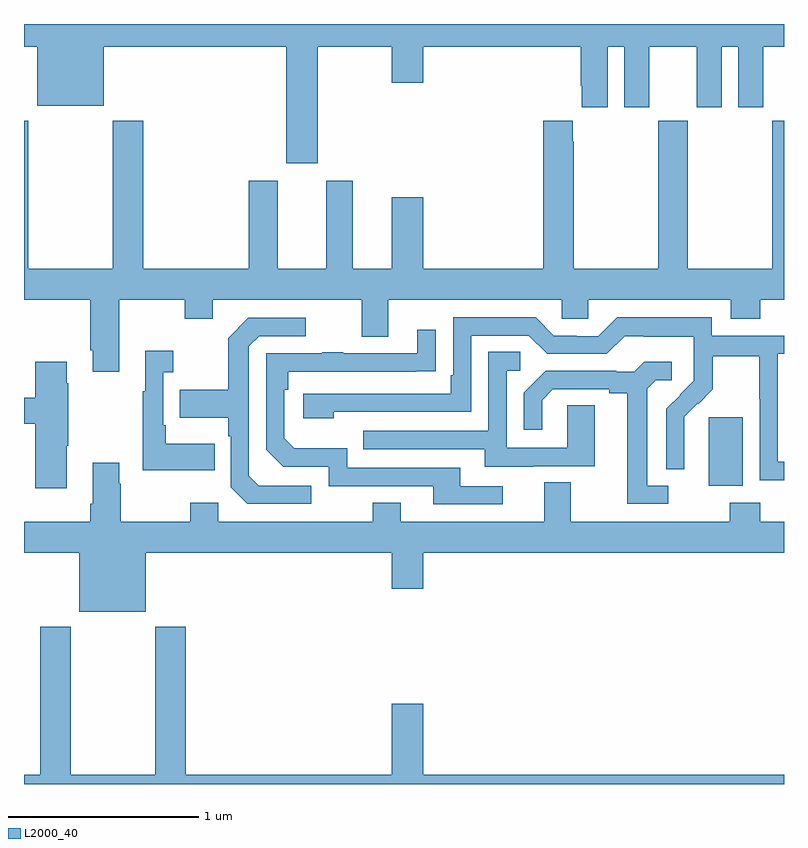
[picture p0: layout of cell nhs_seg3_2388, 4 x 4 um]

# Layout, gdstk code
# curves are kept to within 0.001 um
import gdstk
lib = gdstk.Library(unit=1e-6, precision=1e-09)
def R(c, l, rs):  # rectangles x0, y0, x1, y1
    for r in rs: c.add(gdstk.rectangle(r[:2], r[2:], *l))
def P(c, l, *ps):  # polygons
    for p in ps: c.add(gdstk.Polygon(p, *l))
L2000_40 = (2000, 40)

nhs_seg3_2388 = lib.new_cell('nhs_seg3_2388')
R(nhs_seg3_2388, L2000_40, [(238.604,667.97,238.783,668.331)])
P(nhs_seg3_2388, L2000_40, [(236.545,670.28),(236.936,670.28),(236.936,670.092),(237.1,670.092),(237.1,670.28),(237.929,670.28),(237.929,670.075),(237.935,670.075),(237.935,669.963),(238.072,669.963),(238.072,670.28),(238.16,670.28),(238.16,669.963),(238.291,669.963),(238.291,670.28),(238.541,670.28),(238.541,669.963),(238.672,669.963),(238.672,670.28),(238.76,670.28),(238.76,669.963),(238.891,669.963),(238.891,670.28),(239,670.28),(239,670.4),(235,670.4),(235,670.28),(235.07,670.28),(235.07,669.971),(235.42,669.971),(235.42,670.28),(236.381,670.28),(236.381,669.666),(236.545,669.666)],
  [(235.501,668.948),(235.846,668.948),(235.846,668.849),(235.993,668.849),(235.993,668.948),(236.777,668.948),(236.777,668.754),(236.917,668.754),(236.917,668.948),(237.831,668.948),(237.831,668.85),(237.969,668.85),(237.969,668.948),(238.721,668.948),(238.721,668.849),(238.874,668.849),(238.874,668.948),(239,668.948),(239,669.892),(238.939,669.892),(238.939,669.112),(238.494,669.112),(238.494,669.892),(238.339,669.892),(238.339,669.112),(237.894,669.112),(237.894,669.779),(237.889,669.779),(237.889,669.892),(237.734,669.892),(237.734,669.112),(237.1,669.112),(237.1,669.487),(236.936,669.487),(236.936,669.112),(236.731,669.112),(236.731,669.574),(236.591,669.574),(236.591,669.112),(236.335,669.112),(236.335,669.574),(236.183,669.574),(236.183,669.112),(235.628,669.112),(235.628,669.892),(235.468,669.892),(235.468,669.112),(235.023,669.112),(235.023,669.892),(235,669.892),(235,668.948),(235.349,668.948),(235.349,668.683),(235.361,668.683),(235.361,668.571),(235.501,668.571)],
  [(239,668.097),(238.968,668.097),(238.968,668.664),(239,668.664),(239,668.76),(238.62,668.76),(238.62,668.857),(238.123,668.857),(238.023,668.757),(237.908,668.757),(237.908,668.76),(237.789,668.76),(237.693,668.856),(237.258,668.856),(237.258,668.551),(237.245,668.551),(237.245,668.454),(236.469,668.454),(236.469,668.324),(236.63,668.324),(236.63,668.358),(237.354,668.358),(237.354,668.76),(237.657,668.76),(237.753,668.664),(238.068,668.664),(238.161,668.757),(238.261,668.757),(238.261,668.753),(238.524,668.753),(238.524,668.619),(238.526,668.619),(238.526,668.522),(238.38,668.374),(238.38,668.056),(238.476,668.056),(238.475,668.333),(238.545,668.403),(238.548,668.4),(238.625,668.477),(238.625,668.652),(238.87,668.652),(238.87,668.428),(238.872,668.428),(238.872,667.999),(239,667.999)],
  [(236.512,667.971),(236.235,667.971),(236.184,668.022),(236.184,668.703),(236.238,668.757),(236.482,668.757),(236.482,668.853),(236.181,668.853),(236.076,668.747),(236.076,668.475),(235.819,668.475),(235.819,668.327),(236.076,668.327),(236.076,668.231),(236.088,668.231),(236.088,667.962),(236.175,667.875),(236.512,667.875)],
  [(237.52,667.968),(237.295,667.968),(237.295,668.064),(236.7,668.064),(236.7,668.167),(236.423,668.167),(236.37,668.22),(236.37,668.474),(236.39,668.474),(236.39,668.571),(237.167,668.572),(237.167,668.791),(237.071,668.791),(237.071,668.667),(236.681,668.667),(236.681,668.672),(236.569,668.672),(236.569,668.667),(236.274,668.667),(236.274,668.16),(236.364,668.07),(236.604,668.07),(236.604,667.968),(237.155,667.968),(237.155,667.872),(237.52,667.872)],
  [(236.003,668.191),(235.747,668.191),(235.747,668.287),(235.734,668.287),(235.734,668.567),(235.786,668.567),(235.786,668.68),(235.637,668.68),(235.637,668.467),(235.626,668.467),(235.626,668.051),(236.003,668.051)],
  [(237.679,668.073),(238.003,668.073),(238.003,668.393),(237.858,668.393),(237.858,668.169),(237.54,668.169),(237.54,668.574),(237.613,668.574),(237.613,668.675),(237.444,668.675),(237.444,668.259),(236.785,668.259),(236.785,668.163),(237.425,668.163),(237.425,668.069),(237.679,668.069)],
  [(238.39,667.971),(238.279,667.971),(238.279,668.479),(238.326,668.526),(238.408,668.526),(238.408,668.623),(238.264,668.623),(238.212,668.571),(238.118,668.571),(238.118,668.574),(237.746,668.574),(237.63,668.458),(237.63,668.265),(237.727,668.265),(237.727,668.421),(237.784,668.478),(238.079,668.478),(238.079,668.456),(238.175,668.456),(238.175,667.875),(238.39,667.875)],
  [(235.225,668.179),(235.233,668.179),(235.233,668.51),(235.225,668.51),(235.225,668.623),(235.058,668.623),(235.058,668.432),(235,668.432),(235,668.296),(235.058,668.296),(235.058,667.956),(235.225,667.956)],
  [(235.642,667.616),(236.936,667.616),(236.936,667.428),(237.1,667.428),(237.1,667.616),(239,667.616),(239,667.78),(238.874,667.78),(238.874,667.879),(238.714,667.879),(238.714,667.78),(237.877,667.78),(237.877,667.988),(237.737,667.988),(237.737,667.78),(236.983,667.78),(236.983,667.879),(236.836,667.879),(236.836,667.78),(236.022,667.78),(236.022,667.879),(235.876,667.879),(235.876,667.78),(235.509,667.78),(235.509,667.979),(235.501,667.979),(235.501,668.092),(235.361,668.092),(235.361,667.876),(235.349,667.876),(235.349,667.78),(235,667.78),(235,667.616),(235.292,667.616),(235.292,667.307),(235.642,667.307)],
  [(235.85,667.228),(235.69,667.228),(235.69,666.448),(235.245,666.448),(235.245,667.228),(235.085,667.228),(235.085,666.448),(235,666.448),(235,666.4),(239,666.4),(239,666.448),(237.1,666.448),(237.1,666.823),(236.936,666.823),(236.936,666.448),(235.85,666.448)])

lib.write_gds('nhs_seg3_2388.gds')
